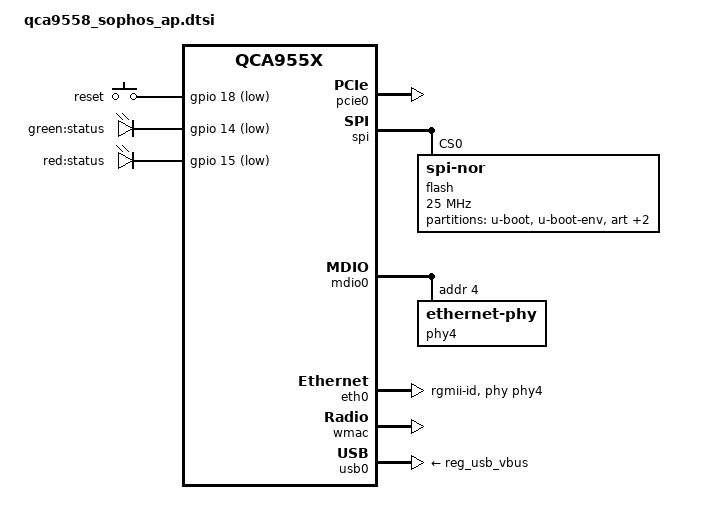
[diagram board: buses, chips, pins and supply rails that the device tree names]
// SPDX-License-Identifier: GPL-2.0-or-later OR MIT

/*
 * The hardware of this board family is most likely shared with other devices
 * from other manufacturers. Edimax appear to be the actual OEM.
 *
 * Sophos use the same exact board for the AP55C/AP100C, and AP55/AP100.
 * Yes, this means your AP55C is a 3x3 AP with a software lock, and your
 * AP55 is an AP100 with one missing antenna pigtail.
 *
 * AP55 and AP55C boards have different physical layouts, but are logically
 * almost identical. AP55/100 have an empty micro-USB OTG port footprint,
 * which may be possible to retrofit with some work.
 */

#include "qca955x.dtsi"

#include <dt-bindings/gpio/gpio.h>
#include <dt-bindings/input/input.h>

/ {
	aliases {
		led-boot = &led_status_green;
		led-failsafe = &led_status_red;
		led-running = &led_status_green;
		led-upgrade = &led_status_red;
		label-mac-device = &eth0;
	};

	chosen {
		bootargs = "console=ttyS0,115200n8";
	};

	keys {
		compatible = "gpio-keys";

		reset {
			label = "reset";
			linux,code = <KEY_RESTART>;
			gpios = <&gpio 18 GPIO_ACTIVE_LOW>;
			debounce-interval = <60>;
		};
	};

	leds {
		compatible = "gpio-leds";

		led_status_green: status_green {
			label = "green:status";
			gpios = <&gpio 14 GPIO_ACTIVE_LOW>;
			default-state = "on";
		};

		led_status_red: status_red {
			label = "red:status";
			gpios = <&gpio 15 GPIO_ACTIVE_LOW>;
		};
	};

	reg_usb_vbus: reg_usb_vbus {
		compatible = "regulator-fixed";
		regulator-name = "usb_vbus";
		regulator-min-microvolt = <5000000>;
		regulator-max-microvolt = <5000000>;
		gpio = <&gpio 11 GPIO_ACTIVE_HIGH>;
		enable-active-high;
		regulator-boot-on;
		status = "disabled";
	};
};

&pcie0 {
	status = "okay";
};

&spi {
	status = "okay";

	flash@0 {
		compatible = "jedec,spi-nor";
		reg = <0>;
		spi-max-frequency = <25000000>;

		partitions {
			compatible = "fixed-partitions";
			#address-cells = <1>;
			#size-cells = <1>;

			partition@0 {
				label = "u-boot";
				reg = <0x000000 0x040000>;
				read-only;
			};

			partition@40000 {
				label = "u-boot-env";
				reg = <0x040000 0x010000>;
			};

			art: partition@50000 {
				label = "art";
				reg = <0x050000 0x010000>;
				read-only;
			};

			config: partition@60000 {
				label = "config";
				reg = <0x060000 0x010000>;
				read-only;
			};

			partition@70000 {
				compatible = "denx,uimage";
				label = "firmware";
				reg = <0x070000 0xf90000>;
			};
		};
	};
};

&mdio0 {
	status = "okay";

	phy4: ethernet-phy@4 {
		reg = <4>;
		eee-broken-100tx;
		eee-broken-1000t;
	};
};

&eth0 {
	status = "okay";

	pll-data = <0xa6000000 0xa0000101 0xa0001313>;

	nvmem-cells = <&macaddr_config_201a>;
	nvmem-cell-names = "mac-address";

	phy-mode = "rgmii-id";
	phy-handle = <&phy4>;

	gmac_config: gmac-config {
		device = <&gmac>;

		rgmii-enabled = <1>;

		rxdv-delay = <3>;
		rxd-delay = <3>;
		txen-delay = <3>;
		txd-delay = <3>;
	};
};

&wmac {
	status = "okay";

	mtd-cal-data = <&art 0x1000>;
};

&config {
	compatible = "nvmem-cells";
	#address-cells = <1>;
	#size-cells = <1>;

	macaddr_config_201a: macaddr@201a {
		reg = <0x201a 0x6>;
	};
};

&usb0 {
	vbus-supply = <&reg_usb_vbus>;
};
